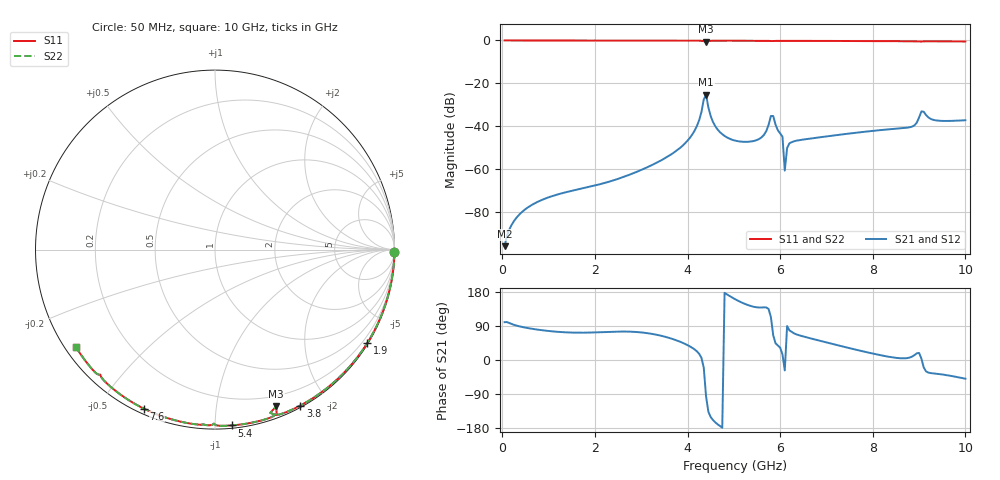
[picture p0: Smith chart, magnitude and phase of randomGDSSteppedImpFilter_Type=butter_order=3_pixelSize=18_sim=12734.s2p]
! freq	dB(S11)	phase(S11)	dB(S12)	phase(S12)
!  dB(S21)	phase(S21)	dB(S22)	phase(S22)
!S-par simulation data
#  GHz  S  DB  R 50
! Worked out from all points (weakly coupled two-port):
!   200 points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, 50 MHz to 10 GHz, reference 50 ohm
!   highest |S21| = -25.21 dB at 4.4 GHz (marker M1); lowest = -95.9 dB at 50 MHz (marker M2)
!   lowest |S11| = -0.6 dB at 4.4 GHz (marker M3), VSWR 31.03, Z = 5.05 - j73 ohm
!   |S11| at or under -10 dB: nowhere
!   |S22| runs from -0.6 to 0.0 dB; largest |S21 - S12| = 0
!   S11 on the Smith chart (normalised r, x): 50 MHz: open; 1.9 GHz: 0.03, -3.55; 3.8 GHz: 0.02, -1.69; 5.4 GHz: 0.02, -1.10; 7.6 GHz: 0.02, -0.65; 10 GHz: 0.03, -0.31
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0.05  -0.00 -0.8  -95.94 99.8  -95.94 99.8  -0.00 -0.8
1.75  -0.04 -29.0  -68.89 72.1  -68.89 72.1  -0.04 -29.0
1.9  -0.04 -31.4  -68.15 72.4  -68.15 72.4  -0.04 -31.4
3.4  -0.07 -55.2  -56.25 64.8  -56.25 64.8  -0.07 -55.2
3.8  -0.08 -61.3  -50.81 50.1  -50.81 50.1  -0.08 -61.3
4.15  -0.10 -66.9  -42.16 28.1  -42.16 28.1  -0.10 -66.9
4.4  -0.56 -68.7  -25.21 -96.0  -25.21 -96.0  -0.56 -68.7
4.6  -0.12 -72.5  -40.02 -164.6  -40.02 -164.6  -0.12 -72.5
5.05  -0.13 -79.4  -46.80 159.0  -46.80 159.0  -0.13 -79.4
5.4  -0.14 -84.4  -47.01 141.3  -47.01 141.3  -0.14 -84.4
5.65  -0.16 -88.1  -44.07 138.8  -44.07 138.8  -0.16 -88.1
5.85  -0.27 -90.3  -35.24 65.4  -35.24 65.4  -0.27 -90.3
6.05  -0.20 -93.4  -44.82 14.9  -44.82 14.9  -0.20 -93.4
6.1  -0.22 -93.9  -60.70 -27.5  -60.70 -27.5  -0.21 -93.9
6.15  -0.19 -94.5  -50.20 89.6  -50.20 89.6  -0.19 -94.5
6.2  -0.18 -95.3  -47.95 78.2  -47.95 78.2  -0.18 -95.3
6.7  -0.20 -102.2  -45.62 55.7  -45.62 55.7  -0.20 -102.2
7.6  -0.26 -114.1  -43.13 28.2  -43.13 28.2  -0.26 -114.1
8.35  -0.32 -123.9  -41.43 8.5  -41.43 8.5  -0.32 -123.9
8.9  -0.40 -131.1  -39.60 12.8  -39.60 12.8  -0.40 -131.1
9.05  -0.49 -132.5  -33.09 3.8  -33.09 3.8  -0.49 -132.5
10  -0.48 -145.1  -37.21 -49.4  -37.21 -49.4  -0.48 -145.1
